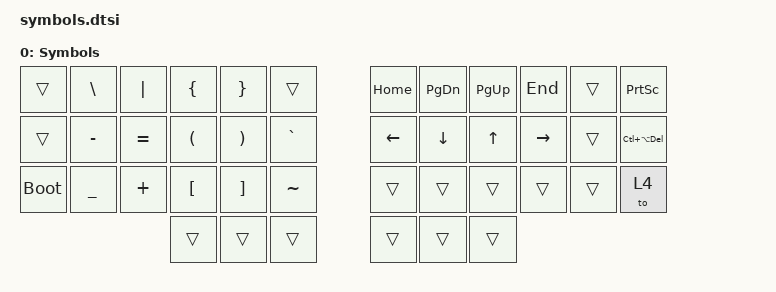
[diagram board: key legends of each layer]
/ {
  keymap {
    compatible = "zmk,keymap";
      Symbols {
        label = "Symbols";
        bindings =
         <&trans       &kp BACKSLASH  &kp PIPE   &kp LEFT_BRACE        &kp RIGHT_BRACE        &trans       &kp HOME  &kp PG_DN       &kp PAGE_UP   &kp END    &trans  &kp PRINTSCREEN
          &trans       &kp MINUS      &kp EQUAL  &kp LEFT_PARENTHESIS  &kp RIGHT_PARENTHESIS  &kp GRAVE    &kp LEFT  &kp DOWN_ARROW  &kp UP_ARROW  &kp RIGHT  &trans  &kp LC(LA(DELETE))
          &bootloader  &kp UNDER      &kp PLUS   &kp LEFT_BRACKET      &kp RIGHT_BRACKET      &kp TILDE    &trans    &trans          &trans        &trans     &trans  &to 4
                                                 &trans                &trans                 &trans       &trans    &trans          &trans>;
    };
  };
};
